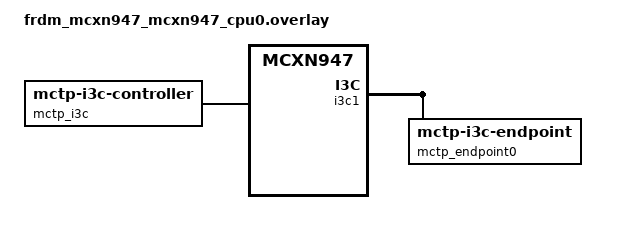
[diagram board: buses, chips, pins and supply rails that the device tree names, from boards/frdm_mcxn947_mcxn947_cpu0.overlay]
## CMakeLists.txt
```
cmake_minimum_required(VERSION 3.28.0)

find_package(Zephyr REQUIRED HINTS $ENV{ZEPHYR_BASE})
project(mctp_i3c_bus_owner)

target_sources(app PRIVATE src/main.c)
```

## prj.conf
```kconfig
CONFIG_I3C=y
CONFIG_MCTP=y
CONFIG_MCTP_I3C_CONTROLLER=y
CONFIG_LOG=y
CONFIG_LOG_BUFFER_SIZE=4096
```

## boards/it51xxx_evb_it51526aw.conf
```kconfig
CONFIG_I3C_INIT_RSTACT=n
CONFIG_I3C_SHELL=y
CONFIG_I3CM_IT51XXX_DLM_SIZE=512
```

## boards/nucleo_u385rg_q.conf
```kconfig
CONFIG_I3C_USE_IBI=n
CONFIG_MCTP_I3C_CONTROLLER_POLLING_MODE=y
CONFIG_MCTP_I3C_CONTROLLER_POLL_INTERVAL_MS=10
CONFIG_I3C_LOG_LEVEL_OFF=y
```

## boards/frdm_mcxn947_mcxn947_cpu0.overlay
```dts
/*
 * Copyright (c) 2025 Intel Corporation
 *
 * SPDX-License-Identifier: Apache-2.0
 */
#include <zephyr/dt-bindings/gpio/gpio.h>

/* I3C SDA J5.3 */
/* I3C SCL J5.4 */
&i3c1 {

	i3c-scl-hz = <DT_FREQ_M(4)>;
	i3c-od-scl-hz = <DT_FREQ_K(1500)>;
	status = "okay";

	mctp_endpoint0: mctp_endpoint0@20a00000011 {
		compatible = "zephyr,mctp-i3c-endpoint";
		reg = <0x0000 0x020a 0x00000011>;
		status = "okay";
	};
};

/ {
	mctp_i3c: mctp_i3c {
		compatible = "zephyr,mctp-i3c-controller";
		endpoints = <&mctp_endpoint0>;
		endpoint-ids = <11>;
	};
};
```

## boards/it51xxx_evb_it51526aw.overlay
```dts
/*
 * Copyright (c) 2026 ITE Corporation. All Rights Reserved.
 *
 * SPDX-License-Identifier: Apache-2.0
 */

/ {
	mctp_i3c: mctp_i3c {
		compatible = "zephyr,mctp-i3c-controller";
		endpoints = <&mctp_endpoint0>;
		endpoint-ids = <11>;
	};
};

&i3c0 {
	i3c-scl-hz = <7500000>;
	i3c-od-scl-hz = <1500000>;
	i2c-scl-hz = <400000>;

	pinctrl-0 = <&i3c0_clk_gpj3_default &i3c0_data_gpj4_default>;
	pinctrl-names = "default";
	status = "okay";

	/* dynamic address assignment: entdaa */
	mctp_endpoint0: mctp_endpoint0@5fa00000011 {
		compatible = "zephyr,mctp-i3c-endpoint";
		reg = <0x00 0x05fa 0x00000011>;
		status = "okay";
	};
};
```

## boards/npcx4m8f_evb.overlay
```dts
/*
 * Copyright (c) 2025 Intel Corporation
 *
 * SPDX-License-Identifier: Apache-2.0
 */
&rctl {
	status = "okay";
};

/* I3C SDA J18.20 */
/* I3C SCL J18.19 */
&i3c0 {
	i3c-scl-hz = <7500000>;
	i3c-od-scl-hz = <1500000>;

	bcr = <0x67>;
	status = "okay";

	mctp_endpoint0: mctp_endpoint0@20a00000011 {
		compatible = "zephyr,mctp-i3c-endpoint";
		reg = <0x0000 0x020a 0x00000011>;
		status = "okay";
	};
};

&pcc {
	clock-frequency = <DT_FREQ_M(90)>; /* OFMCLK runs at 90MHz */
	core-prescaler = <3>; /* CORE_CLK runs at 30MHz */
	apb1-prescaler = <6>; /* APB1_CLK runs at 15MHz */
	apb2-prescaler = <6>; /* APB2_CLK runs at 15MHz */
	apb3-prescaler = <6>; /* APB3_CLK runs at 15MHz */
	apb4-prescaler = <3>; /* APB4_CLK runs at 30MHz */
};

/ {
	mctp_i3c: mctp_i3c {
		compatible = "zephyr,mctp-i3c-controller";
		endpoints = <&mctp_endpoint0>;
		endpoint-ids = <11>;
	};
};
```

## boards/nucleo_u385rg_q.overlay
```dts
/*
 * Copyright (c) 2026 Tenstorrent AI ULC
 *
 * SPDX-License-Identifier: Apache-2.0
 */

&i3c1 {
	pinctrl-0 = <&i3c1_scl_pb2 &i3c1_sda_pc1>;
	pinctrl-names = "default";
	status = "okay";
	i3c-scl-hz = <1000000>;
	i2c-scl-hz = <400000>;

	mctp_endpoint0: mctp_endpoint0@20813818000 {
		compatible = "zephyr,mctp-i3c-endpoint";
		reg = <0x0000 0x0208 0x13818000>;
		status = "okay";
	};
};

/ {
	mctp_i3c: mctp_i3c {
		compatible = "zephyr,mctp-i3c-controller";
		endpoints = <&mctp_endpoint0>;
		endpoint-ids = <11>;
	};
};
```

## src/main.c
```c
/*
 * Copyright (c) 2025 Intel Corporation
 *
 * SPDX-License-Identifier: Apache-2.0
 */

#include <stdlib.h>
#include <stdio.h>
#include <assert.h>
#include <zephyr/types.h>
#include <zephyr/kernel.h>
#include <libmctp.h>
#include <zephyr/pmci/mctp/mctp_i3c_controller.h>

#include <zephyr/logging/log.h>
LOG_MODULE_REGISTER(mctp_i3c_bus_host);

#define LOCAL_EID 20

MCTP_I3C_CONTROLLER_DT_DEFINE(mctp_i3c_ctrl, DT_NODELABEL(mctp_i3c));


static void rx_message(uint8_t eid, bool tag_owner, uint8_t msg_tag, void *data, void *msg,
		       size_t len)
{
	LOG_INF("Received message \"%s\" from endpoint %d to %d, msg_tag %d, len %zu", (char *)msg,
		eid, LOCAL_EID, msg_tag, len);
}

int main(void)
{
	int rc;
	struct mctp *mctp_ctx;

	LOG_INF("MCTP Host EID:%d on %s\n", LOCAL_EID, CONFIG_BOARD_TARGET);

	mctp_ctx = mctp_init();
	__ASSERT_NO_MSG(mctp_ctx != NULL);
	mctp_register_bus(mctp_ctx, &mctp_i3c_ctrl.binding, LOCAL_EID);
	mctp_set_rx_all(mctp_ctx, rx_message, NULL);

	while (true) {
		for (int i = 0; i < mctp_i3c_ctrl.num_endpoints; i++) {
			LOG_INF("Sending message \"ping\" to endpoint %u",
				mctp_i3c_ctrl.endpoint_ids[i]);

			rc = mctp_message_tx(mctp_ctx, mctp_i3c_ctrl.endpoint_ids[i], false,
					0, "ping", sizeof("ping"));
			if (rc != 0) {
				LOG_WRN("Failed to send message \"ping\" to i3c pid %llu, "
					"endpoint %u, errno %d\n",
					mctp_i3c_ctrl.endpoint_i3c_devs[i]->pid,
					mctp_i3c_ctrl.endpoint_ids[i], rc);
			}
			k_msleep(1000);
		}
	}

	return 0;
}
```
